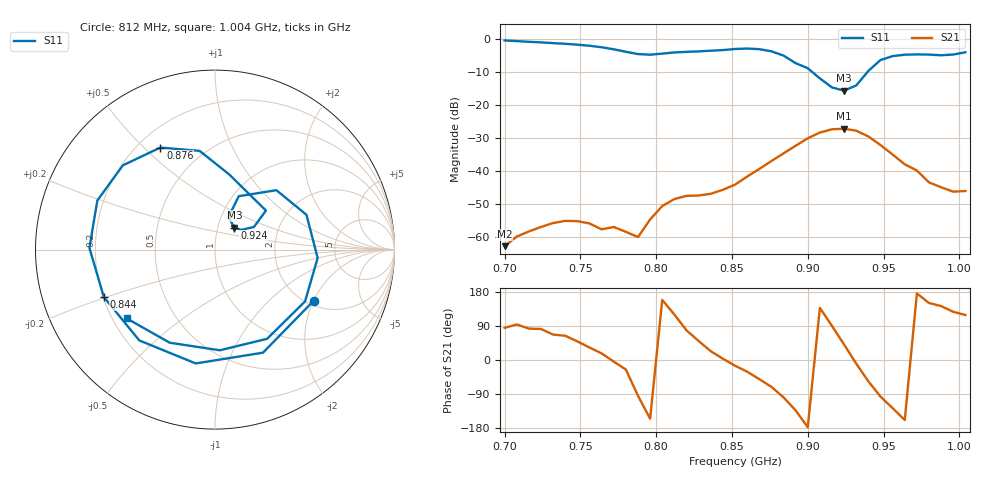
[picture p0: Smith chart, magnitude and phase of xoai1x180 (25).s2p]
# Hz S RI R 50
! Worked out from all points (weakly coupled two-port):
!   39 points, 700 MHz to 1.004 GHz, reference 50 ohm
!   highest |S21| = -27.28 dB at 924 MHz (marker M1); lowest = -62.9 dB at 700 MHz (marker M2)
!   lowest |S11| = -15.7 dB at 924 MHz (marker M3), VSWR 1.39, Z = 60 + j15.2 ohm
!   |S11| at or under -10 dB: 902.8 MHz to 939.5 MHz (36.75 MHz wide, 3.99 % of centre)
!   S12 and S22 are empty: the file has one direction only
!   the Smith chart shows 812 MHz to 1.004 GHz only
!   S11 on the Smith chart (normalised r, x): 812 MHz: 2.18, -2.01; 844 MHz: 0.20, -0.20; 876 MHz: 0.29, +0.56; 924 MHz: 1.20, +0.30; 1.004 GHz: 0.26, -0.32
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7e8  0.763 0.5526  6.44e-05 0.000715  0 0  0 0
7.24e8  0.8451 -0.25  0.000198 0.00139  0 0  0 0
7.4e8  0.4572 -0.7031  0.00076 0.00156  0 0  0 0
7.56e8  -0.193 -0.7576  0.00133 0.000865  0 0  0 0
7.72e8  -0.6628 -0.1988  0.0014 -0.000104  0 0  0 0
7.8e8  -0.5943 0.2243  0.00107 -0.000503  0 0  0 0
7.88e8  -0.2472 0.5312  -7.53e-05 -0.000984  0 0  0 0
7.96e8  0.239 0.521  -0.00165 -0.000773  0 0  0 0
8.04e8  0.5691 0.1739  -0.00271 0.00106  0 0  0 0
8.12e8  0.5511 -0.2837  -0.00185 0.00322  0 0  0 0
8.28e8  -0.1075 -0.6343  0.0027 0.00323  0 0  0 0
8.44e8  -0.6195 -0.2638  0.00513 0.000302  0 0  0 0
8.52e8  -0.6997 0.00963  0.00594 -0.0016  0 0  0 0
8.76e8  -0.3045 0.5685  0.00462 -0.0132  0 0  0 0
9e8  0.2839 0.2176  -0.031 -0.00139  0 0  0 0
9.08e8  0.217 0.1261  -0.0279 0.0256  0 0  0 0
9.24e8  0.1078 0.1229  0.0328 0.0282  0 0  0 0
9.4e8  0.1326 0.2977  0.0183 -0.0275  0 0  0 0
9.56e8  0.5094 0.194  -0.0106 -0.014  0 0  0 0
9.72e8  0.5017 -0.2886  -0.01 0.000764  0 0  0 0
9.8e8  0.2905 -0.4968  -0.00578 0.00328  0 0  0 0
1.004e9  -0.492 -0.3833  -0.00236 0.00432  0 0  0 0
